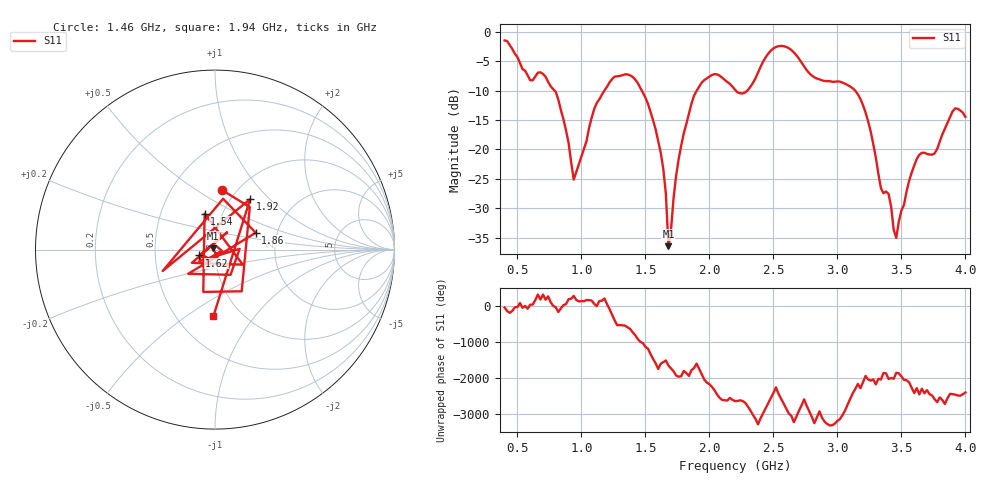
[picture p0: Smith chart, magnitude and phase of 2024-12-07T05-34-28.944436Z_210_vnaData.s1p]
!Created with skrf (http://scikit-rf.org).
# Hz S RI R 50.0
!freq ReS11 ImS11
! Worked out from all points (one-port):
!   181 points, 400 MHz to 4 GHz, reference 50 ohm
!   lowest |S11| = -36.5 dB at 1.68 GHz (marker M1), VSWR 1.03, Z = 48.7 + j0.739 ohm
!   |S11| at or under -10 dB: 791 MHz to 1.179 GHz (387.7 MHz wide, 39.4 % of centre); 1.473 GHz to 1.901 GHz (428.3 MHz wide, 25.4 % of centre); 3.14 GHz to end of sweep (the widest 3 of 4)
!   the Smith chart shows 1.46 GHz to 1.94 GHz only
!   S11 on the Smith chart (normalised r, x): 1.46 GHz: 0.86, +0.64; 1.54 GHz: 0.82, +0.35; 1.62 GHz: 0.84, -0.05; 1.86 GHz: 1.55, +0.31; 1.92 GHz: 1.22, +0.78; 1.94 GHz: 0.75, -0.64
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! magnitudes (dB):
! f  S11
! 400 MHz  -1.4
! 600 MHz  -8.2
! 720 MHz  -7.6
! 860 MHz  -14.9
! 940 MHz  -25.1
! 1.12 GHz  -12.1
! 1.3 GHz  -7.5
! 1.46 GHz  -9.5
! 1.54 GHz  -13.6
! 1.62 GHz  -20.6
! 1.66 GHz  -27.6
! 1.68 GHz  -36.5
! 1.76 GHz  -21.6
! 1.86 GHz  -12.2
! 1.92 GHz  -9.3
! 1.94 GHz  -8.6
! 2.2 GHz  -9.8
! 2.3 GHz  -9.9
! 2.5 GHz  -2.8
! 2.66 GHz  -3.5
! 3.1 GHz  -9.3
! 3.22 GHz  -13.7
! 3.34 GHz  -26.6
! 3.4 GHz  -27.6
! 3.46 GHz  -35.1
! 3.56 GHz  -25.4
! 3.92 GHz  -13.0
! 4 GHz  -14.5
